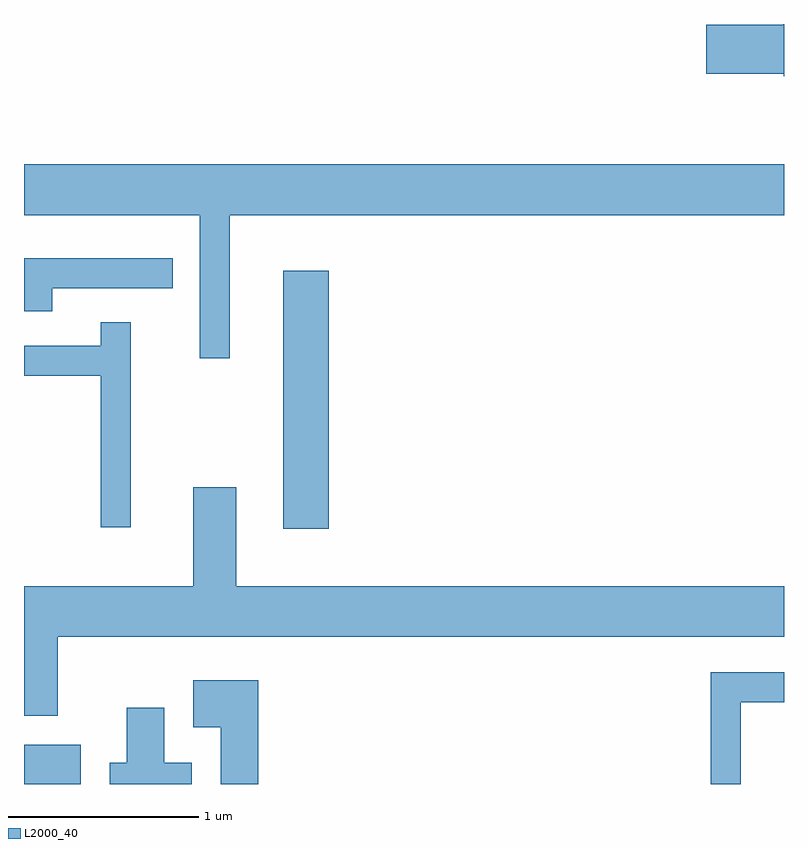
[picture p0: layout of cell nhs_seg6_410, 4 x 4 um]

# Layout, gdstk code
import gdstk
lib = gdstk.Library(unit=1e-6, precision=1e-09)
def R(c, l, rs):  # rectangles x0, y0, x1, y1
    for r in rs: c.add(gdstk.rectangle(r[:2], r[2:], *l))
def P(c, l, *ps):  # polygons
    for p in ps: c.add(gdstk.Polygon(p, *l))
L2000_40 = (2000, 40)

nhs_seg6_410 = lib.new_cell('nhs_seg6_410')
R(nhs_seg6_410, L2000_40, [(197.611,1538.162,197.909,1538.369), (198.976,1539.506,199.214,1540.864)])
P(nhs_seg6_410, L2000_40, [(201.611,1542.162),(201.606,1542.162),(201.606,1542.159),(201.201,1542.159),(201.201,1541.901),(201.61,1541.901),(201.61,1541.886),(201.611,1541.886)],
  [(198.694,1541.156),(201.611,1541.156),(201.611,1541.424),(197.611,1541.424),(197.611,1541.156),(198.536,1541.156),(198.536,1540.403),(198.694,1540.403)],
  [(197.759,1540.771),(198.393,1540.771),(198.393,1540.929),(197.611,1540.929),(197.611,1540.651),(197.759,1540.651)],
  [(198.174,1540.593),(198.016,1540.593),(198.016,1540.469),(197.611,1540.469),(197.611,1540.311),(198.016,1540.311),(198.016,1539.513),(198.174,1539.513)],
  [(197.789,1538.936),(201.611,1538.936),(201.611,1539.204),(198.729,1539.204),(198.729,1539.724),(198.501,1539.724),(198.501,1539.204),(197.611,1539.204),(197.611,1538.521),(197.789,1538.521)],
  [(201.384,1538.591),(201.611,1538.591),(201.611,1538.749),(201.226,1538.749),(201.226,1538.162),(201.384,1538.162)],
  [(198.844,1538.709),(198.501,1538.709),(198.501,1538.461),(198.646,1538.461),(198.646,1538.162),(198.844,1538.162)],
  [(198.494,1538.274),(198.349,1538.274),(198.349,1538.564),(198.151,1538.564),(198.151,1538.274),(198.061,1538.274),(198.061,1538.162),(198.494,1538.162)])

lib.write_gds('nhs_seg6_410.gds')
